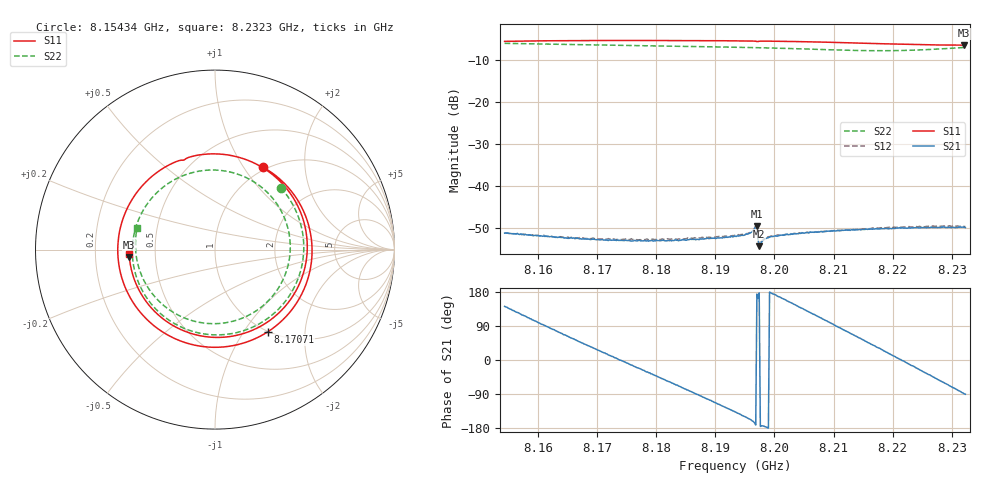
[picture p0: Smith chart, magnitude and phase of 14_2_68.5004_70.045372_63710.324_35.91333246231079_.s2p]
#  HZ  S  RI  R  50.00
! Rohde & Schwarz Vector Network Analyzer
! Rohde-Schwarz,ZNB20-2Port,1311601062101988,3.16
! Created: UTC 3/20/2024, 5:04:18 PM
! freq[Hz]  re:S11  im:S11  re:S21  im:S21  re:S12  im:S12  re:S22  im:S22
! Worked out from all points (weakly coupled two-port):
!   401 points, 8.15434 GHz to 8.2323 GHz, reference 50 ohm
!   highest |S21| = -49.42 dB at 8.19702 GHz (marker M1); lowest = -54.3 dB at 8.19741 GHz (marker M2)
!   lowest |S11| = -6.4 dB at 8.23211 GHz (marker M3), VSWR 2.84, Z = 17.6 - j1.87 ohm
!   |S11| at or under -10 dB: nowhere
!   |S22| runs from -7.7 to -6.0 dB; largest |S21 - S12| = 0.00026
!   S11 on the Smith chart (normalised r, x): 8.15434 GHz: 0.96, +1.23; 8.17071 GHz: 1.00, -1.29; 8.2323 GHz: 0.35, -0.02
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8.154339e9  0.2671 0.4593  -0.00216 0.00172  -0.00218 0.00174  0.367 0.3441
8.161161e9  0.5299 0.1011  -4.08e-05 0.00253  -3.7e-05 0.00257  0.4915 -0.0434
8.167398e9  0.4526 -0.3006  0.00166 0.00166  0.00167 0.00175  0.3203 -0.3626
8.170711e9  0.2947 -0.4575  0.00215 0.000867  0.00217 0.000918  0.1519 -0.4541
8.175584e9  -0.0207 -0.5438  0.00219 -0.000472  0.00228 -0.000457  -0.1235 -0.4558
8.180456e9  -0.3312 -0.4312  0.00158 -0.00161  0.00161 -0.00169  -0.3511 -0.3076
8.183965e9  -0.4845 -0.245  0.000791 -0.00214  0.000785 -0.00223  -0.4426 -0.136
8.187083e9  -0.5407 -0.0365  -5.68e-05 -0.00233  -0.000139 -0.00241  -0.4586 0.0359
8.19332e9  -0.3977 0.3639  -0.00187 -0.00175  -0.00195 -0.00173  -0.3026 0.3366
8.196634e9  -0.204 0.4946  -0.003 -0.000749  -0.00311 -0.000677  -0.1402 0.4251
8.197023e9  -0.1763 0.4981  -0.00336 0.000362  -0.00342 0.000561  -0.1191 0.4307
8.197413e9  -0.1591 0.5086  -0.00193 9.25e-05  -0.00196 0.000159  -0.0978 0.4355
8.201701e9  0.1421 0.5115  -0.00246 0.000906  -0.00245 0.00102  0.1424 0.4146
8.206379e9  0.41 0.3259  -0.00152 0.0024  -0.00146 0.00245  0.3505 0.2463
8.209497e9  0.5022 0.1256  -0.000387 0.00292  -0.0003 0.00289  0.4152 0.0732
8.212616e9  0.5019 -0.096  0.000908 0.00287  0.000968 0.00286  0.3996 -0.1152
8.215734e9  0.4064 -0.2973  0.00211 0.00222  0.00221 0.00221  0.3001 -0.2821
8.219438e9  0.1941 -0.4553  0.00299 0.000888  0.00314 0.00084  0.0947 -0.4004
8.22509e9  -0.2034 -0.4395  0.00278 -0.00163  0.00282 -0.0018  -0.2665 -0.3267
8.228793e9  -0.401 -0.2639  0.00157 -0.00284  0.00149 -0.00301  -0.4171 -0.1229
8.232106e9  -0.4772 -0.0408  4.62e-05 -0.00325  -0.00011 -0.00331  -0.4368 0.1066
8.232301e9  -0.4783 -0.0268  -2.07e-05 -0.00322  -0.000223 -0.00333  -0.4341 0.1199
